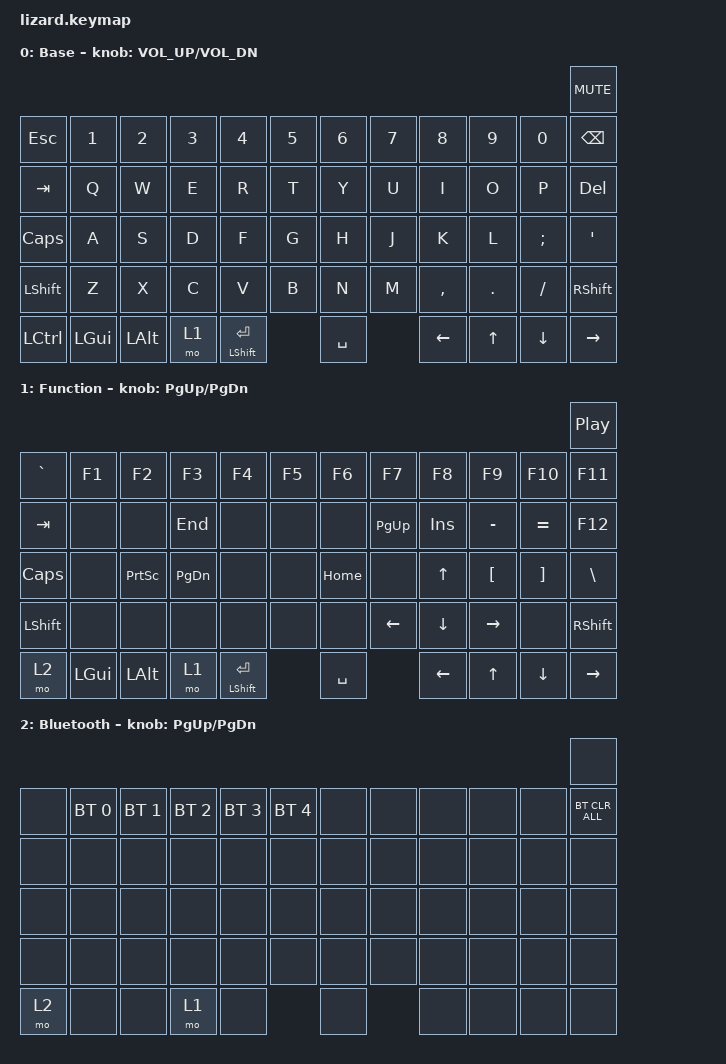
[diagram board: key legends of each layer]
#include <behaviors.dtsi>
#include <dt-bindings/zmk/keys.h>
#include <dt-bindings/zmk/bt.h>

/ {
    keymap {
        compatible = "zmk,keymap";

        default_layer {
            display-name = "Base";

            bindings = <
                                                                                                                        &kp C_MUTE
                &kp ESC    &kp N1    &kp N2    &kp N3   &kp N4   &kp N5   &kp N6 &kp N7   &kp N8     &kp N9   &kp N0    &kp BSPC
                &kp TAB    &kp Q     &kp W     &kp E    &kp R    &kp T    &kp Y  &kp U    &kp I      &kp O    &kp P     &kp DELETE
                &kp CAPS   &kp A     &kp S     &kp D    &kp F    &kp G    &kp H  &kp J    &kp K      &kp L    &kp SEMI  &kp SQT
                &kp LSHFT  &kp Z     &kp X     &kp C    &kp V    &kp B    &kp N  &kp M    &kp COMMA  &kp DOT  &kp FSLH  &kp RSHFT
                &kp LCTRL  &kp LGUI  &kp LALT  &mo 1    &mt LSHFT ENTER   &kp SPACE       &kp LEFT   &kp UP   &kp DOWN  &kp RIGHT
            >;

            sensor-bindings = <&inc_dec_kp C_VOL_UP C_VOL_DN>;
        };

        fn_layer {
            display-name = "Function";

            bindings = <
                                                                                                                                  &kp C_PLAY_PAUSE
                &kp GRAVE  &kp F1    &kp F2     &kp F3     &kp F4   &kp F5   &kp F6    &kp F7     &kp F8    &kp F9     &kp F10    &kp F11
                &kp TAB    &none     &none      &kp END    &none    &none    &none     &kp PG_UP  &kp INS   &kp MINUS  &kp EQUAL  &kp F12
                &kp CAPS   &none     &kp PSCRN  &kp PG_DN  &none    &none    &kp HOME  &none      &kp UP    &kp LBKT   &kp RBKT   &kp BSLH
                &kp LSHFT  &none     &none      &none      &none    &none    &none     &kp LEFT   &kp DOWN  &kp RIGHT  &none      &kp RSHFT
                &mo 2      &kp LGUI  &kp LALT   &mo 1      &mt LSHFT ENTER   &kp SPACE            &kp LEFT  &kp UP     &kp DOWN   &kp RIGHT
            >;

            sensor-bindings = <&inc_dec_kp PG_UP PG_DN>;
        };

        bt_layer {
            display-name = "Bluetooth";

            bindings = <
                                                                                                                                  &none
                &none    &bt BT_SEL 0  &bt BT_SEL 1  &bt BT_SEL 2  &bt BT_SEL 3  &bt BT_SEL 4  &none  &none  &none  &none  &none  &bt BT_CLR_ALL
                &none    &none         &none         &none         &none         &none         &none  &none  &none  &none  &none  &none
                &none    &none         &none         &none         &none         &none         &none  &none  &none  &none  &none  &none
                &none    &none         &none         &none         &none         &none         &none  &none  &none  &none  &none  &none
                &mo 2    &none         &none         &mo 1         &none         &none                       &none  &none  &none  &none
            >;

            sensor-bindings = <&inc_dec_kp PG_UP PG_DN>;
        };
    };
};
